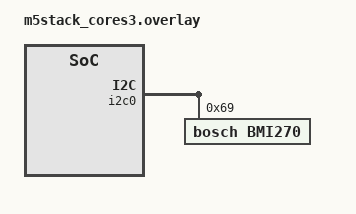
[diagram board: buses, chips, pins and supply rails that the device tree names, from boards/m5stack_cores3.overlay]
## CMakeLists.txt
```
# SPDX-License-Identifier: Apache-2.0

cmake_minimum_required(VERSION 3.20.0)

find_package(Zephyr REQUIRED HINTS $ENV{ZEPHYR_BASE})
project(scheduler)

FILE(GLOB app_sources src/*.cpp)
target_sources(app PRIVATE ${app_sources})
target_include_directories(app PRIVATE lib/eigen)
```

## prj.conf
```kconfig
#enable C++
CONFIG_CPP=y
CONFIG_STD_CPP20=y
CONFIG_CPP_EXCEPTIONS=y
CONFIG_GLIBCXX_LIBCPP=y
CONFIG_REQUIRES_FULL_LIBCPP=y

# enable printing floats
CONFIG_CBPRINTF_FP_SUPPORT=y
# enable logging 
# Level: [0,4]: [NONE, ERR, WRN, INF, DBG]
CONFIG_LOG=y
CONFIG_LOG_DEFAULT_LEVEL=3
CONFIG_LOG_MODE_MINIMAL=y

CONFIG_STDOUT_CONSOLE=y
# IMU
CONFIG_I2C=y
CONFIG_SENSOR=y
```

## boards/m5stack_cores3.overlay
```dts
&i2c0 {
	bmi270@69 {
		compatible = "bosch,bmi270";
		reg = <0x69>;
		status = "okay";
	};
};
```

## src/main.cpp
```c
#include <cstdio>
#include <zephyr/kernel.h>
#include <zephyr/sys/ring_buffer.h>
#include <zephyr/sys/atomic.h>
#include <autoconf.h>
#include "IMU.h"
#include "Estimator.h"
#include "Controller.h"
#include "Synchronization.h"

#include "../lib/eigen/Eigen/Core"

using Eigen::VectorXf;

#define ESTIMATOR_STACK_SIZE       2000
#define CONTROLLER_STACK_SIZE      2000
#define LOGGER_STACK_SIZE          2000
#define ESTIMATOR_THREAD_PRIORITY  5
#define CONTROLLER_THREAD_PRIORITY 3
#define LOGGER_THREAD_PRIORITY     10

// Thread
K_THREAD_STACK_DEFINE(estimator_thread_stack_area, ESTIMATOR_STACK_SIZE);
K_THREAD_STACK_DEFINE(controller_thread_stack_area, CONTROLLER_STACK_SIZE);
K_THREAD_STACK_DEFINE(logger_thread_stack_area, LOGGER_STACK_SIZE);

struct k_thread estimator_thread, controller_thread, logger_thread;
void estimatorThreadFunction(void *p1, void *p2, void *p3);
void controllerThreadFunction(void *p1, void *p2, void *p3);
void loggerThreadFunction(void *p1, void *p2, void *p3);

// Timer
// struct k_timer timer;
void estimatorCallbackFunction(struct k_timer *timer_id);
void controllerCallbackFunction(struct k_timer *timer_id);
void loggerCallbackFunction(struct k_timer *timer_id);

K_TIMER_DEFINE(estimator_timer, estimatorCallbackFunction, NULL);
K_TIMER_DEFINE(controller_timer, controllerCallbackFunction, NULL);
K_TIMER_DEFINE(logger_timer, loggerCallbackFunction, NULL);

int main(void)
{
	/* Initialize Thread */
	k_thread_create(&estimator_thread, estimator_thread_stack_area,
			K_THREAD_STACK_SIZEOF(estimator_thread_stack_area), estimatorThreadFunction,
			NULL, NULL, NULL, ESTIMATOR_THREAD_PRIORITY, 0, K_FOREVER);
	k_thread_create(&controller_thread, controller_thread_stack_area,
			K_THREAD_STACK_SIZEOF(controller_thread_stack_area),
			controllerThreadFunction, NULL, NULL, NULL, CONTROLLER_THREAD_PRIORITY, 0,
			K_FOREVER);
	k_thread_create(&logger_thread, logger_thread_stack_area,
			K_THREAD_STACK_SIZEOF(logger_thread_stack_area), loggerThreadFunction, NULL,
			NULL, NULL, LOGGER_THREAD_PRIORITY, 0, K_FOREVER);

	k_thread_name_set(&estimator_thread, "estimator_thread");
	k_thread_name_set(&controller_thread, "controller_thread");
	k_thread_name_set(&logger_thread, "logger_thread");

	k_thread_start(&estimator_thread);
	k_thread_start(&controller_thread);
	k_thread_start(&logger_thread);

	/* Initialize Timer */
	k_timer_start(&estimator_timer, K_MSEC(500), K_MSEC(1));
	k_timer_start(&controller_timer, K_MSEC(500), K_MSEC(10));
	k_timer_start(&logger_timer, K_MSEC(500), K_MSEC(500));
}

void estimatorThreadFunction(void *p1, void *p2, void *p3)
{
	imu::IMU imu;
	estimator::Estimator estimator;
	std::array<uint32_t, 7> m_imu{0};
	std::array<uint32_t, 8> m{0};
	std::array<uint32_t, 16> log_data{0};
	uint16_t type = 0x01; // measurements
	uint8_t value = 0x01;

	uint32_t x1, x2, x3, x4, r1, r2, r3, u1;

	while (true) {
		k_thread_suspend(&estimator_thread);
		imu.getMeasurements(m_imu);
		for (int i = 0; i < 7; ++i) {
			atomic_set(&latest_imu_measurements[i], m[i]);
		}

		uint32_t motor_speed = atomic_get(&latest_motor_measurements[0]);
		m = {m_imu[0], m_imu[1], m_imu[2], m_imu[3],
		     m_imu[4], m_imu[5], m_imu[6], motor_speed};

		estimator.estimateState(m);

		x1 = atomic_get(&latest_state[0]);
		x2 = atomic_get(&latest_state[1]);
		x3 = atomic_get(&latest_state[2]);
		x4 = atomic_get(&latest_state[3]);
		r1 = atomic_get(&latest_reference[0]);
		r2 = atomic_get(&latest_reference[1]);
		r3 = atomic_get(&latest_reference[2]);
		u1 = atomic_get(&latest_input[0]);

		log_data = {m[0], m[1], m[2], m[3], m[4], m[5], m[6], m[7],
			    x1,   x2,   x3,   x4,   r1,   r2,   r3,   u1};

		ring_buf_item_put(&log_ring_buffer, type, value,
				  reinterpret_cast<uint32_t *>(&log_data), 16);
	}
}

void controllerThreadFunction(void *p1, void *p2, void *p3)
{
	uint8_t i2c_address = 0x64;
	controller::Controller controller(i2c_address);

	int32_t motor_speed{};
	VectorXf reference(4);
	VectorXf state(4);
	VectorXf input(1);

	state << 0.0f, 0.0f, 0.0f, 0.0f;
	reference << 0.0f, 0.0f, 0.0f, 0.0f;
	input << 0.0f;
	uint32_t counter = 0;

	auto rpm2rads = [](float rpm) -> float { return (rpm * 2.0f * 3.14f) / 60.0f; };
	auto rads2rpm = [](float rads) -> float { return (rads * 60.0f) / (2.0f * 3.14f); };
	while (counter < 1000) {
		counter++;
		//		if (counter == 250) {
		//			reference << 0.0f, 0.0f, 0.0f, 0.0f;
		//		}
		k_thread_suspend(&controller_thread);
		state[0] = ((float)atomic_get(&latest_state[0])) / 1000000.0f;
		state[1] = ((float)atomic_get(&latest_state[1])) / 1000000.0f;
		state[2] = ((float)atomic_get(&latest_state[2])) / 1000000.0f;
		state[3] = -rpm2rads(controller.motor.getSpeed());
		// TODO: double check the sign
		atomic_set(&latest_motor_measurements[0], (int32_t)(state[3] * 1000000.0f));

		controller.compute_input(reference, state, input);
		for (int i = 0; i < reference.size(); ++i) {
			atomic_set(&latest_reference[i],
				   (int32_t)(rpm2rads(reference[i]) * 1000000.0f));
		}
		atomic_set(&latest_input[0], (int32_t)(input[0] * 1000000.0f));

		controller.motor.setSpeed(-rads2rpm(input[0]));
	}
}

void loggerThreadFunction(void *p1, void *p2, void *p3)
{
	uint16_t type;
	uint8_t value;
	uint32_t data[16];
	uint8_t size;

	while (true) {
		k_thread_suspend(&logger_thread);

		while (!ring_buf_is_empty(&log_ring_buffer)) {
			if (ring_buf_item_get(&log_ring_buffer, &type, &value, data, &size) < 0) {
				printk("Failed to get item from ring buffer\n");
				continue;
			}
			if (type == 0x01) {
				double time = double((int32_t)data[0]) / 1000.0;
				double ax = double((int32_t)data[1]) / 1000000.0,
				       ay = double((int32_t)data[2]) / 1000000.0,
				       az = double((int32_t)data[3]) / 1000000.0;
				double gx = double((int32_t)data[4]) / 1000000.0,
				       gy = double((int32_t)data[5]) / 1000000.0,
				       gz = double((int32_t)data[6]) / 1000000.0;
				double motor_speed = double((int32_t)data[7]) / 1000000.0;
				double x1 = double((int32_t)data[8]) / 1000000.0,
				       x2 = double((int32_t)data[9]) / 1000000.0,
				       x3 = double((int32_t)data[10]) / 1000000.0,
				       x4 = double((int32_t)data[11]) / 1000000.0;
				double r1 = double((int32_t)data[12]) / 1000000.0,
				       r2 = double((int32_t)data[13]) / 1000000.0,
				       r3 = double((int32_t)data[14]) / 1000000.0;
				double u1 = double((int32_t)data[15]) / 1000000.0;

				printk("time: [%0.6f], "
				       "imu: [%0.6f, %0.6f, %0.6f, %0.6f, %0.6f, %0.6f, %0.6f], "
				       "state: [%0.6f, %0.6f, %0.6f, %0.6f], "
				       "reference: [%0.6f, %0.6f, %0.6f], "
				       "input: [%0.6f]\n",
				       time, ax, ay, az, gx, gy, gz, motor_speed, x1, x2, x3, x4,
				       r1, r2, r3, u1);
			} else {
				// Dump data without formatting
				for (int i = 0; i < size; ++i) {
					printk("%d ", data[i]);
				}
				printk("\n");
			}
		}
	}
}

void estimatorCallbackFunction(struct k_timer *timer_id)
{
	k_thread_resume(&estimator_thread);
}

void controllerCallbackFunction(struct k_timer *timer_id)
{
	k_thread_resume(&controller_thread);
}

void loggerCallbackFunction(struct k_timer *timer_id)
{
	k_thread_resume(&logger_thread);
}
```

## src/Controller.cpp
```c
//
// Created by juri on 09.07.25.
//

#include "Controller.h"

namespace controller
{
Controller::Controller(uint32_t i2c_address) : motor(roller485::Roller485(i2c_address)), F(1, 4)
{
	F << -8271.53430235, -2699.18108768, 0.20695488, 0.0260427;

	motor.setMode(roller485::Roller485::SPEED_MODE);
	motor.setMaxCurrent(10000.0f, roller485::Roller485::SPEED_MODE);
	motor.setSpeedPID(20.0f, 0.000f, 2000.0f);
	motor.enableMotor();
	motor.setSpeed(0.0f);
	k_sleep(K_MSEC(500));
}

Controller::~Controller()
{
	motor.disableMotor();
}
void Controller::compute_input(VectorXf &reference, VectorXf &state, VectorXf &input)
{
	// Simple proportional controller
	if (reference.size() != state.size() || 1 != input.size()) {
		printf("Error: Size mismatch in reference, state, or input vectors.\n");
		return;
	}
	input[0] = 0.0f;
	//	input[0] = reference[3];
	for (int i = 0; i < reference.size(); ++i) {
		input[0] -= F(0, i) * (state[i] - reference[i]);
	}
}
} // namespace controller
```

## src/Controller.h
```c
//
// Created by juri on 09.07.25.
//

#ifndef SCHEDULER_CONTROLLER_H
#define SCHEDULER_CONTROLLER_H

#include <cstdio>
#include <zephyr/kernel.h>
#include <zephyr/sys/atomic.h>
#include <autoconf.h>
#include <array>
#include "Synchronization.h"
#include "Roller485.h"

#include "../lib/eigen/Eigen/Core"

using Eigen::Matrix3f;
using Eigen::MatrixXf;
using Eigen::Vector2f;
using Eigen::Vector3f;
using Eigen::VectorXf;

namespace controller
{

class Controller
{
      public:
	explicit Controller(uint32_t i2c_address);
	virtual ~Controller();

	void compute_input(VectorXf &reference, VectorXf &state, VectorXf &input);

	roller485::Roller485 motor;
	MatrixXf F; // controller gain matrix

      private:
};

} // namespace controller

#endif // SCHEDULER_CONTROLLER_H
```

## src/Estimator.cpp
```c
//
// Created by juri on 09.07.25.
//

#include "Estimator.h"

namespace estimator
{
Estimator::Estimator()
	: K(4, 3), C(3, 4), A(4, 4), A_cl(4, 4), x_hat(4), z_bar(3), tau(0.005f), tau_g(0.005f),
	  ts(0.005f)
{
	// Initialize the Kalman gain matrix
	K << 0.99999929, -0.00499999, 0., 0., 0.99999929, -0., 0.00003638, -0.00008641, -0.71339377,
		0.00001819, -0.00004321, 0.71580273;
	A << 0.98454991, 0.0049583, 0.00000039, 0.00000005, -3.09001853, -0.00834008, 0.00007731,
		0.00000973, 0.38561931, 0.12583595, 0.99532835, 0.0093228, 77.12386296, 25.16718963,
		-0.93433058, 0.86455904;
	C << 1., 0.005, 0., 0., 0., 1., 0., 0., 0., 0., -0.46620047, 0.93240093;
	A_cl = (A - K * C);
	x_hat.setZero();
	z_bar.setZero();
}

void Estimator::estimateState(const std::array<uint32_t, 8> &measurements)
{
	// get measurements
	float ax_new = float((int32_t)measurements[1]) / 1000000.0f;
	float ay_new = float((int32_t)measurements[2]) / 1000000.0f;
	float gz_new = float((int32_t)measurements[6]) / 1000000.0f;
	float motor_speed = float((int32_t)measurements[7]) / 1000000.0f;

	// complementary filter
	float a0 = tau / (tau + ts);
	float b0 = ts / (tau + ts);
	float a0_g = tau_g / (tau_g + ts);
	float b0_g = ts / (tau_g + ts);

	ax = a0 * ax + b0 * ax_new;
	ay = a0 * ay + b0 * ay_new;
	gz = a0_g * gz + b0_g * gz_new;

	float theta = -atan2f(ay, ax) - 3.14f * 3.0f / 4.0f; // calculate angle from
							     // accelerometer

	// propagate through Kalman filter
	z_bar << theta, gz, motor_speed;
	x_hat = A_cl * x_hat + K * z_bar;

	for (int i = 0; i < 4; ++i) {
		atomic_set(&latest_state[i], (int32_t)(x_hat[i] * 1000000.0f));
	}
}
} // namespace estimator
```

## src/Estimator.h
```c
//
// Created by juri on 09.07.25.
//

#ifndef SCHEDULER_ESTIMATOR_H
#define SCHEDULER_ESTIMATOR_H

#include <cstdio>
#include <zephyr/kernel.h>
#include <zephyr/sys/atomic.h>
#include <autoconf.h>
#include <array>
#include "Synchronization.h"

#include "../lib/eigen/Eigen/Core"

using Eigen::Matrix3f;
using Eigen::MatrixXf;
using Eigen::Vector2f;
using Eigen::VectorXf;

namespace estimator
{

class Estimator
{
      public:
	explicit Estimator();
	virtual ~Estimator() = default;

	void estimateState(const std::array<uint32_t, 8> &measurements);

      private:
	MatrixXf K, C, A, A_cl;
	VectorXf x_hat;
	VectorXf z_bar;
	float ax{-9.81f * 0.707f}, ay{-9.81f * 0.707f}, gz{0.0f};
	float tau, tau_g, ts;
};

} // namespace estimator

#endif // SCHEDULER_ESTIMATOR_H
```

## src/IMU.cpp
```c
//
// Created by juri on 09.07.25.
//

#include "IMU.h"

namespace imu
{
IMU::IMU() : dev(DEVICE_DT_GET_ONE(bosch_bmi270))
{

	if (!device_is_ready(dev)) {
		printk("Device %s is not ready\n", dev->name);
		return;
	}

	printk("Device %p name is %s\n", dev, dev->name);

	struct sensor_value full_scale{}, sampling_freq{}, oversampling{};

	/* Setup accelerometer */
	full_scale.val1 = 2; /* G */
	full_scale.val2 = 0;
	sampling_freq.val1 = 100; /* Hz. Performance mode */
	sampling_freq.val2 = 0;
	oversampling.val1 = 1; /* Normal mode */
	oversampling.val2 = 0;

	sensor_attr_set(dev, SENSOR_CHAN_ACCEL_XYZ, SENSOR_ATTR_FULL_SCALE, &full_scale);
	sensor_attr_set(dev, SENSOR_CHAN_ACCEL_XYZ, SENSOR_ATTR_OVERSAMPLING, &oversampling);
	sensor_attr_set(dev, SENSOR_CHAN_ACCEL_XYZ, SENSOR_ATTR_SAMPLING_FREQUENCY, &sampling_freq);

	/* Setup gyroscope */
	full_scale.val1 = 500; /* dps */
	full_scale.val2 = 0;
	sampling_freq.val1 = 100; /* Hz. Performance mode */
	sampling_freq.val2 = 0;
	oversampling.val1 = 1; /* Normal mode */
	oversampling.val2 = 0;

	sensor_attr_set(dev, SENSOR_CHAN_GYRO_XYZ, SENSOR_ATTR_FULL_SCALE, &full_scale);
	sensor_attr_set(dev, SENSOR_CHAN_GYRO_XYZ, SENSOR_ATTR_OVERSAMPLING, &oversampling);
	sensor_attr_set(dev, SENSOR_CHAN_GYRO_XYZ, SENSOR_ATTR_SAMPLING_FREQUENCY, &sampling_freq);

	printk("IMU initialized successfully\n");
}
void IMU::getMeasurements(std::array<uint32_t, 7> &measurements)
{
	if (sensor_sample_fetch(dev)) {
		printf("Failed to fetch sensor sample\n");
		return;
	};

	sensor_channel_get(dev, SENSOR_CHAN_ACCEL_XYZ, acc);
	sensor_channel_get(dev, SENSOR_CHAN_GYRO_XYZ, gyr);

	measurements[0] = k_uptime_get();                      // / 1000.0f;  wall time in seconds
	measurements[1] = acc[0].val1 * 1000000 + acc[0].val2; // / 1000000.0f;
	measurements[2] = acc[1].val1 * 1000000 + acc[1].val2; // / 1000000.0f;
	measurements[3] = acc[2].val1 * 1000000 + acc[2].val2; // / 1000000.0f;
	measurements[4] = gyr[0].val1 * 1000000 + gyr[0].val2; // / 1000000.0f;
	measurements[5] = gyr[1].val1 * 1000000 + gyr[1].val2; // / 1000000.0f;
	measurements[6] = gyr[2].val1 * 1000000 + gyr[2].val2; // / 1000000.0f;
}

} // namespace imu
```

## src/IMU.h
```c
//
// Created by juri on 09.07.25.
//

#ifndef SCHEDULER_IMU_H
#define SCHEDULER_IMU_H

#include <cstdio>
#include <zephyr/kernel.h>
#include <zephyr/device.h>
#include <zephyr/drivers/sensor.h>
#include <vector>
#include <array>

namespace imu
{

class IMU
{
      public:
	explicit IMU();
	virtual ~IMU() = default;

	void getMeasurements(std::array<uint32_t, 7> &measurements);

      private:
	const struct device *const dev;
	struct sensor_value acc[3]{}, gyr[3]{};
};

} // namespace imu

#endif // SCHEDULER_IMU_H
```

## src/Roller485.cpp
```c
//
// Created by juri on 27.06.25.
//
#include "Roller485.h"

static inline void intToFourBytes(int32_t value, int8_t *bytes)
{
	*reinterpret_cast<int32_t *>(bytes) = static_cast<int32_t>(value);
}

static inline void floatToFourBytesCurrent(float value, int8_t *bytes)
{
	intToFourBytes(static_cast<int32_t>(value * 100), bytes);
}

static inline void floatToFourBytesSpeed(float value, int8_t *bytes)
{
	intToFourBytes(static_cast<int32_t>(value * 100), bytes);
}

static inline void floatToFourBytesPosition(float value, int8_t *bytes)
{
	intToFourBytes(static_cast<int32_t>(value * 100), bytes);
}

static inline void floatToFourBytesPD(float value, int8_t *bytes)
{
	intToFourBytes(static_cast<int32_t>(value * 100000), bytes);
}
static inline void floatToFourBytesI(float value, int8_t *bytes)
{
	intToFourBytes(static_cast<int32_t>(value * 10000000), bytes);
}

static inline int32_t fourBytesToInt(const int8_t *bytes)
{
	return *reinterpret_cast<const int32_t *>(bytes);
}

static inline int32_t fourBytesToIntCurrent(const int8_t *bytes)
{
	return fourBytesToInt(bytes) / 100;
}
static inline float fourBytesToFloatCurrent(const int8_t *bytes)
{
	return static_cast<float>(fourBytesToInt(bytes)) / 100;
}

static inline float fourBytesToFloatSpeed(const int8_t *bytes)
{
	return static_cast<float>(fourBytesToInt(bytes)) / 100.0f;
}

static inline float fourBytesToFloatPosition(const int8_t *bytes)
{
	return static_cast<float>(fourBytesToInt(bytes)) / 100.0f;
}

static inline float fourBytesToFloatPD(const int8_t *bytes)
{
	return static_cast<float>(fourBytesToInt(bytes)) / 100000.0f;
}

static inline float fourBytesToFloatI(const int8_t *bytes)
{
	return static_cast<float>(fourBytesToInt(bytes)) / 10000000.0f;
}

static inline float fourBytesToFloatTemp(const int8_t *bytes)
{
	return static_cast<float>(fourBytesToInt(bytes));
}

// TODO: add logging

namespace roller485
{
Roller485::Roller485(uint8_t i2c_address)
	: i2c_address(i2c_address), i2c_dev(DEVICE_DT_GET(DT_NODELABEL(i2c1)))
{
	if (!device_is_ready(i2c_dev)) {
		printk("I2C device not ready\n");
	}

	printk("Roller485 initialized with I2C address: 0x%02X\n", i2c_address);

	setRGBUserMode();
	disableMotor();
}

Roller485::~Roller485() = default;

int Roller485::sendAndCheck(uint8_t *data, size_t length)
{
	int ret = i2c_write(this->i2c_dev, data, length, this->i2c_address);
	if (ret != 0) {
		printk("Failed to send I2C command: %d\n", ret);
		return ret;
	}
	return 0;
}
void Roller485::enableMotor()
{
	uint8_t command[2] = {MOTOR_ENABLE, 0x01};
	if (sendAndCheck(command, 2) == 0) {
		motor_enabled = true;
		setRGBColor(0, 255, 0);
		printk("Motor enabled\n");
	} else {
		printk("Failed to enable motor\n");
		// TODO: Change to error state
	}
}

void Roller485::disableMotor()
{
	uint8_t command[2] = {MOTOR_ENABLE, 0x00};
	if (sendAndCheck(command, 2) == 0) {
		motor_enabled = false;
		setRGBColor(0, 0, 255);
		printk("Motor disabled\n");
	} else {
		printk("Failed to disable motor\n");
	}
}

void Roller485::setMode(Roller485::motor_mode_t mode)
{
	if (mode < SPEED_MODE || mode > ENCODER_MODE) {
		printk("Invalid motor mode: %d\n", mode);
		return;
	}

	uint8_t command[2] = {MOTOR_MODE, static_cast<uint8_t>(mode)};
	if (sendAndCheck(command, 2) == 0) {
		motor_mode = mode;
		printk("Motor mode set to %d\n", mode);
	} else {
		printk("Failed to set motor mode\n");
	}
}

void Roller485::setRGBUserMode()
{
	uint8_t command[2] = {RGB_USER_MODE, 0x01};
	if (sendAndCheck(command, 2) == 0) {
		printk("Motor mode set to user mode\n");
	} else {
		printk("Failed to set motor mode to user mode\n");
	}
}

void Roller485::setRGBColor(uint8_t red, uint8_t green, uint8_t blue)
{
	uint8_t command[4] = {RGB_COLOR, blue, green, red}; // BGR format
	if (sendAndCheck(command, 2) == 0) {
		//		printk("RGB color set to R:%d G:%d B:%d\n", red, green, blue);
	} else {
		printk("Failed to set RGB color\n");
	}
}
void Roller485::setMaxCurrent(float max_current, Roller485::motor_mode_t mode)
{
	uint8_t address;
	int8_t max_current_bytes[4] = {0, 0, 0, 0};

	switch (mode) {
	case SPEED_MODE:
		address = SPEED_MODE_MAX_CURRENT;
		break;
	case POSITION_MODE:
		address = POSITION_MODE_MAX_CURRENT;
		break;
	case CURRENT_MODE:
		printk("Current mode does not support setting max current\n");
		return;
	case ENCODER_MODE:
		printk("Encoder mode does not support setting max current\n");
		return;
	default:
		printk("Invalid motor mode for setting max current\n");
		return;
	}

	floatToFourBytesCurrent(max_current, max_current_bytes);

	printk("Max current bytes: 0x%02X 0x%02X 0x%02X 0x%02X\n", max_current_bytes[0],
	       max_current_bytes[1], max_current_bytes[2], max_current_bytes[3]);
	uint8_t command[5] = {address, static_cast<uint8_t>(max_current_bytes[0]),
			      static_cast<uint8_t>(max_current_bytes[1]),
			      static_cast<uint8_t>(max_current_bytes[2]),
			      static_cast<uint8_t>(max_current_bytes[3])};

	if (sendAndCheck(command, 5) == 0) {
		printk("Max current set to %d mA for mode %d\n",
		       fourBytesToIntCurrent(max_current_bytes), mode);
	} else {
		printk("Failed to set max current\n");
	}
}

void Roller485::setSpeed(float speed)
{
	if (motor_mode != SPEED_MODE) {
		printk("Motor is not in speed mode, setting speed has no effect\n");
	}

	int8_t speed_bytes[4] = {0, 0, 0, 0};
	floatToFourBytesSpeed(speed, speed_bytes);
	uint8_t command[5] = {SPEED_MODE_TARGET_SPEED, static_cast<uint8_t>(speed_bytes[0]),
			      static_cast<uint8_t>(speed_bytes[1]),
			      static_cast<uint8_t>(speed_bytes[2]),
			      static_cast<uint8_t>(speed_bytes[3])};

	//	printk("Speed bytes: 0x%02X 0x%02X 0x%02X 0x%02X\n", command[4], command[3],
	// command[2], 	       command[1]);
	if (sendAndCheck(command, 5) == 0) {
		//		printk("Speed set to %f RPM\n",
		//		       static_cast<double>(fourBytesToFloatSpeed(speed_bytes)));
	} else {
		printk("Failed to set speed\n");
	}
}

float Roller485::getSpeed()
{
	if (motor_mode != SPEED_MODE) {
		printk("Motor is not in speed mode, getting speed has no effect\n");
	}

	uint8_t buffer[5] = {SPEED_MODE_READBACK_SPEED, 0, 0, 0, 0};
	i2c_write_read(i2c_dev, i2c_address, buffer, 1, &buffer[1], 4);
	int8_t data[4] = {static_cast<int8_t>(buffer[1]), static_cast<int8_t>(buffer[2]),
			  static_cast<int8_t>(buffer[3]), static_cast<int8_t>(buffer[4])};
	return fourBytesToFloatSpeed(data);
}

void Roller485::setSpeedPID(float p, float i, float d)
{
	if (motor_mode != SPEED_MODE) {
		printk("Motor is not in speed mode, setting speed PID has no effect\n");
	}

	int8_t p_bytes[4] = {0, 0, 0, 0};
	int8_t i_bytes[4] = {0, 0, 0, 0};
	int8_t d_bytes[4] = {0, 0, 0, 0};

	floatToFourBytesPD(p, p_bytes);
	floatToFourBytesI(i, i_bytes);
	floatToFourBytesPD(d, d_bytes);

	uint8_t command[13] = {SPEED_MODE_PID_CONFIG,
			       static_cast<uint8_t>(p_bytes[0]),
			       static_cast<uint8_t>(p_bytes[1]),
			       static_cast<uint8_t>(p_bytes[2]),
			       static_cast<uint8_t>(p_bytes[3]),
			       static_cast<uint8_t>(i_bytes[0]),
			       static_cast<uint8_t>(i_bytes[1]),
			       static_cast<uint8_t>(i_bytes[2]),
			       static_cast<uint8_t>(i_bytes[3]),
			       static_cast<uint8_t>(d_bytes[0]),
			       static_cast<uint8_t>(d_bytes[1]),
			       static_cast<uint8_t>(d_bytes[2]),
			       static_cast<uint8_t>(d_bytes[3])};

	if (sendAndCheck(command, 13) == 0) {
		printk("Speed PID set to P: %f I: %f D: %f\n",
		       static_cast<double>(fourBytesToFloatPD(p_bytes)),
		       static_cast<double>(fourBytesToFloatI(i_bytes)),
		       static_cast<double>(fourBytesToFloatPD(d_bytes)));
	} else {
		printk("Failed to set speed PID\n");
	}
}

void Roller485::setPosition(float position)
{
	if (motor_mode != POSITION_MODE) {
		printk("Motor is not in position mode, setting position has no effect\n");
	}

	int8_t position_bytes[4] = {0, 0, 0, 0};
	floatToFourBytesPosition(position, position_bytes);
	uint8_t command[5] = {
		POSITION_MODE_TARGET_POSITION, static_cast<uint8_t>(position_bytes[0]),
		static_cast<uint8_t>(position_bytes[1]), static_cast<uint8_t>(position_bytes[2]),
		static_cast<uint8_t>(position_bytes[3])};

	//	printk("Position bytes: 0x%02X 0x%02X 0x%02X 0x%02X\n", command[4], command[3],
	//command[2], 	       command[1]);

	if (sendAndCheck(command, 5) == 0) {
		//		printk("Position set to %.2f°\n",
		//		       static_cast<double>(fourBytesToFloatPosition(position_bytes)));
	} else {
		printk("Failed to set position\n");
	}
}

float Roller485::getPosition()
{
	if (motor_mode != POSITION_MODE) {
		printk("Motor is not in position mode, getting position has no effect\n");
		return 0;
	}

	uint8_t buffer[5] = {POSITION_MODE_READBACK_POSITION, 0, 0, 0, 0};
	i2c_write_read(i2c_dev, i2c_address, buffer, 1, &buffer[1], 4);
	int8_t data[4] = {static_cast<int8_t>(buffer[1]), static_cast<int8_t>(buffer[2]),
			  static_cast<int8_t>(buffer[3]), static_cast<int8_t>(buffer[4])};
	return fourBytesToFloatPosition(data);
}

void Roller485::setPositionPID(float p, float i, float d)
{
	if (motor_mode != POSITION_MODE) {
		printk("Motor is not in position mode, setting position PID has no effect\n");
		return;
	}

	int8_t p_bytes[4] = {0, 0, 0, 0};
	int8_t i_bytes[4] = {0, 0, 0, 0};
	int8_t d_bytes[4] = {0, 0, 0, 0};

	floatToFourBytesPD(p, p_bytes);
	floatToFourBytesI(i, i_bytes);
	floatToFourBytesPD(d, d_bytes);

	uint8_t command[13] = {POSITION_MODE_PID_CONFIG,         static_cast<uint8_t>(p_bytes[0]),
			       static_cast<uint8_t>(p_bytes[1]), static_cast<uint8_t>(p_bytes[2]),
			       static_cast<uint8_t>(p_bytes[3]), static_cast<uint8_t>(i_bytes[0]),
			       static_cast<uint8_t>(i_bytes[1]), static_cast<uint8_t>(i_bytes[2]),
			       static_cast<uint8_t>(i_bytes[3]), static_cast<uint8_t>(d_bytes[0]),
			       static_cast<uint8_t>(d_bytes[1]), static_cast<uint8_t>(d_bytes[2]),
			       static_cast<uint8_t>(d_bytes[3])};

	if (sendAndCheck(command, 13) == 0) {
		printk("Position PID set to P: %f I: %f D: %f\n",
		       static_cast<double>(fourBytesToFloatPD(p_bytes)),
		       static_cast<double>(fourBytesToFloatI(i_bytes)),
		       static_cast<double>(fourBytesToFloatPD(d_bytes)));
	} else {
		printk("Failed to set position PID\n");
	}
}

void Roller485::setCurrent(float current)
{
	if (motor_mode != CURRENT_MODE) {
		printk("Motor is not in current mode, setting current has no effect\n");
	}
	int8_t current_bytes[4] = {0, 0, 0, 0};
	floatToFourBytesCurrent(current, current_bytes);
	uint8_t command[5] = {CURRENT_MODE_CURRENT_TARGET, static_cast<uint8_t>(current_bytes[0]),
			      static_cast<uint8_t>(current_bytes[1]),
			      static_cast<uint8_t>(current_bytes[2]),
			      static_cast<uint8_t>(current_bytes[3])};

	//	printk("Current bytes: 0x%02X 0x%02X 0x%02X 0x%02X\n", command[4], command[3],
	//command[2], 	       command[1]);

	if (sendAndCheck(command, 5) == 0) {
		//		printk("Current set to %d mA\n",
		//fourBytesToIntCurrent(current_bytes));
	} else {
		printk("Failed to set current\n");
	}
}

float Roller485::getCurrent()
{
	if (motor_mode != CURRENT_MODE) {
		printk("Motor is not in current mode, getting current has no effect\n");
		return 0.0f;
	}

	uint8_t buffer[5] = {CURRENT_MODE_READBACK_CURRENT, 0, 0, 0, 0};
	i2c_write_read(i2c_dev, i2c_address, buffer, 1, &buffer[1], 4);
	int8_t data[4] = {static_cast<int8_t>(buffer[1]), static_cast<int8_t>(buffer[2]),
			  static_cast<int8_t>(buffer[3]), static_cast<int8_t>(buffer[4])};
	return fourBytesToFloatCurrent(data);
}

float Roller485::getEncoderCounter()
{
	if (motor_mode != ENCODER_MODE) {
		printk("Motor is not in encoder mode, getting encoder counter has no effect\n");
	}
	uint8_t buffer[5] = {ENCODER_COUNTER, 0, 0, 0, 0};
	i2c_write_read(i2c_dev, i2c_address, buffer, 1, &buffer[1], 4);
	//	printk("Encoder counter response: 0x%02X 0x%02X 0x%02X 0x%02X\n", buffer[4],
	//buffer[3], 	       buffer[2], buffer[1]);
	int8_t data[4] = {static_cast<int8_t>(buffer[1]), static_cast<int8_t>(buffer[2]),
			  static_cast<int8_t>(buffer[3]), static_cast<int8_t>(buffer[4])};
	return static_cast<float>(fourBytesToInt(data));
}
float Roller485::getInternalTemperature()
{
	uint8_t buffer[5] = {INTERNAL_TEMP, 0, 0, 0, 0};
	i2c_write_read(i2c_dev, i2c_address, buffer, 1, &buffer[1], 4);
	int8_t data[4] = {static_cast<int8_t>(buffer[1]), static_cast<int8_t>(buffer[2]),
			  static_cast<int8_t>(buffer[3]), static_cast<int8_t>(buffer[4])};
	return fourBytesToFloatTemp(data);
}

} // namespace roller485
```

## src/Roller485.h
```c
//
// Created by juri on 27.06.25.
//

#ifndef CPP_TEMPLATE_ROLLER485_H
#define CPP_TEMPLATE_ROLLER485_H

#include <cstdio>
#include <cstdint>
#include <zephyr/kernel.h>
#include <zephyr/device.h>
#include <zephyr/drivers/i2c.h>

namespace roller485
{

class Roller485
{

      public:
	typedef enum {
		SPEED_MODE = 0x01,
		POSITION_MODE = 0x02,
		CURRENT_MODE = 0x03,
		ENCODER_MODE = 0x04,
	} motor_mode_t;

	explicit Roller485(uint8_t i2c_address);
	virtual ~Roller485();

	void enableMotor();
	void disableMotor();
	void setMode(motor_mode_t mode);
	void setRGBUserMode();
	void setRGBColor(uint8_t red, uint8_t green, uint8_t blue);
	void setMaxCurrent(float max_current, motor_mode_t mode);
	void setSpeed(float speed);
	float getSpeed();
	void setSpeedPID(float p, float i, float d);
	void setPosition(float position);
	float getPosition();
	void setPositionPID(float p, float i, float d);
	void setCurrent(float current);
	float getCurrent();
	float getInternalTemperature();
	float getEncoderCounter();

      private:
	int sendAndCheck(uint8_t *data, size_t length);

	const uint8_t i2c_address;
	const struct device *i2c_dev;

	bool motor_enabled = false;
	motor_mode_t motor_mode = SPEED_MODE;

	typedef enum {
		MOTOR_ENABLE = 0x00,
		MOTOR_MODE = 0x01,
		MOTOR_OVER_RANGE_PROTECTION = 0x0A,
		REMOVE_JAM_PROTECTION = 0x0B,
		MOTOR_STATUS = 0x0C,
		MOTOR_ERROR_STATUS = 0x0D,
		ENABLE_BUTTON_MODE_SWITCHING = 0x0E,
		ENABLE_MOTOR_JAM_PROTECTION = 0x0F,
		DEVICE_ID = 0x10,
		RS485_BAUD_RATE = 0x11,
		RGB_LED_BRIGHTNESS = 0x12,
		POSITION_MODE_MAX_CURRENT = 0x20,
		RGB_COLOR = 0x30,
		RGB_USER_MODE = 0x33,
		POWER_VIN = 0x34,
		INTERNAL_TEMP = 0x38,
		ENCODER_COUNTER = 0x3C,
		SPEED_MODE_TARGET_SPEED = 0x40,
		SPEED_MODE_MAX_CURRENT = 0x50,
		SPEED_MODE_READBACK_SPEED = 0x60,
		SPEED_MODE_PID_CONFIG = 0x70,
		POSITION_MODE_TARGET_POSITION = 0x80,
		POSITION_MODE_READBACK_POSITION = 0x90,
		POSITION_MODE_PID_CONFIG = 0xA0,
		CURRENT_MODE_CURRENT_TARGET = 0xB0,
		CURRENT_MODE_READBACK_CURRENT = 0xC0,
		SAVE_FLASH = 0xF0,
		FIRMWARE_VERSION = 0xFE,
		I2C_ADDRESS = 0xFF,
	} i2c_address_t;
};

} // namespace roller485

#endif // CPP_TEMPLATE_ROLLER485_H
```

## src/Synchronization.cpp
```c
//
// Created by juri on 09.07.25.
//
#include "Synchronization.h"

// Ring buffer (Data item mode)
RING_BUF_ITEM_DECLARE(log_ring_buffer, RING_BUFFER_SIZE);

atomic_t latest_imu_measurements[7];
atomic_t latest_motor_measurements[1];
atomic_t latest_state[4];
atomic_t latest_reference[4];
atomic_t latest_input[1];
```

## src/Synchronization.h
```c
//
// Created by juri on 09.07.25.
//

#ifndef SCHEDULER_SYNCHRONIZATION_H
#define SCHEDULER_SYNCHRONIZATION_H

#include <zephyr/kernel.h>
#include <zephyr/sys/ring_buffer.h>
#include <zephyr/sys/atomic.h>

#define RING_BUFFER_SIZE (1024 * 7)
extern struct ring_buf log_ring_buffer; // Ring buffer for logging

extern atomic_t latest_imu_measurements[7];   // Atomic array to hold the latest measurements
extern atomic_t latest_motor_measurements[1]; // Atomic array for motor measurements
extern atomic_t latest_state[4];              // Atomic array to hold the latest state estimates
extern atomic_t latest_reference[4];          // Atomic array to hold the latest reference values
extern atomic_t latest_input[1];              // Atomic array to hold the latest input values

#endif // SCHEDULER_SYNCHRONIZATION_H
```
